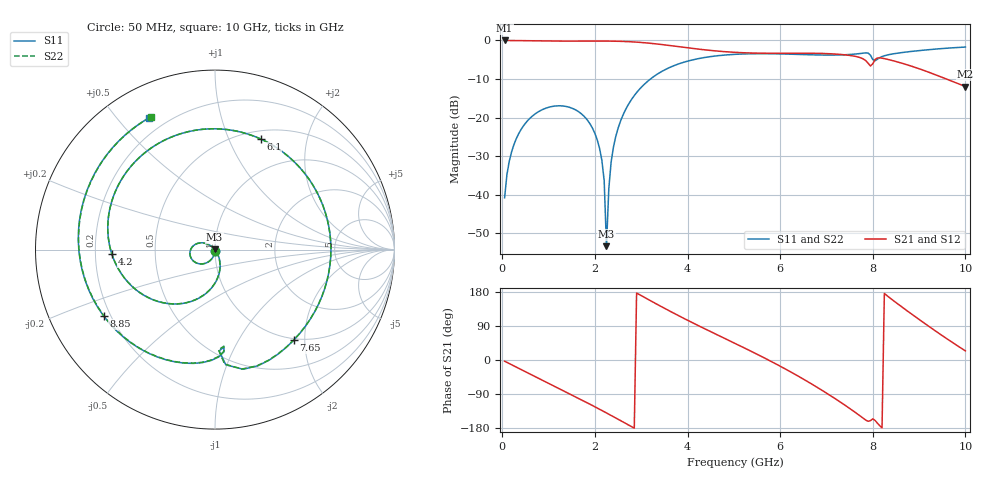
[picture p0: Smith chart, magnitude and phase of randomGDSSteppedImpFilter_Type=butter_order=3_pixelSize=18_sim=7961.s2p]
! freq	dB(S11)	phase(S11)	dB(S12)	phase(S12)
!  dB(S21)	phase(S21)	dB(S22)	phase(S22)
!S-par simulation data
#  GHz  S  DB  R 50
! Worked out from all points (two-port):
!   200 points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, 50 MHz to 10 GHz, reference 50 ohm
!   highest |S21| = -0.01 dB at 50 MHz (marker M1); lowest = -11.9 dB at 10 GHz (marker M2)
!   |S21| within 3 dB of the highest: start of sweep to 4.914 GHz
!   lowest |S11| = -53.3 dB at 2.25 GHz (marker M3), VSWR 1.00, Z = 49.8 + j0.0725 ohm
!   |S11| at or under -10 dB: start of sweep to 3.198 GHz
!   |S22| runs from -51.4 to -1.7 dB; largest |S21 - S12| = 0
!   S11 on the Smith chart (normalised r, x): 50 MHz: 1.00, -0.02; 4.2 GHz: 0.27, -0.02; 6.1 GHz: 0.59, +1.32; 7.65 GHz: 0.97, -1.77; 8.85 GHz: 0.17, -0.27; 10 GHz: 0.14, +0.61
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0.05  -40.77 -92.5  -0.01 -3.2  -0.01 -3.2  -40.76 -92.5
0.2  -28.90 -102.1  -0.03 -12.5  -0.03 -12.5  -28.90 -102.1
0.55  -20.75 -124.5  -0.08 -34.0  -0.08 -34.0  -20.75 -124.5
1.15  -16.99 -161.3  -0.17 -70.7  -0.17 -70.7  -16.98 -161.2
1.75  -19.47 161.8  -0.17 -107.6  -0.17 -107.6  -19.47 162.1
2.15  -31.06 137.5  -0.16 -133.2  -0.16 -133.2  -31.04 139.1
2.2  -36.33 135.8  -0.16 -136.4  -0.16 -136.4  -36.27 138.8
2.25  -53.31 160.3  -0.17 -139.7  -0.17 -139.7  -51.38 176.6
2.3  -38.39 -58.6  -0.17 -143.0  -0.17 -143.0  -38.33 -62.9
2.35  -31.55 -59.3  -0.18 -146.3  -0.18 -146.3  -31.54 -61.2
2.5  -22.76 -68.0  -0.21 -156.3  -0.21 -156.3  -22.76 -68.7
3.4  -8.34 -127.6  -1.00 143.2  -1.00 143.2  -8.34 -127.8
4.2  -4.80 -177.7  -2.20 92.7  -2.20 92.7  -4.80 -177.7
5.05  -3.59 132.4  -3.10 42.4  -3.10 42.4  -3.59 132.4
6.1  -3.52 67.6  -3.33 -22.9  -3.33 -22.9  -3.52 67.7
6.7  -3.73 26.2  -3.33 -64.7  -3.33 -64.7  -3.73 26.2
7.2  -3.78 -11.6  -3.53 -103.0  -3.53 -103.0  -3.79 -11.6
7.65  -3.49 -49.1  -4.20 -140.7  -4.20 -140.7  -3.50 -49.3
8.35  -3.67 -105.0  -4.98 165.7  -4.98 165.7  -3.69 -105.3
8.85  -2.82 -149.3  -6.72 120.2  -6.72 120.2  -2.83 -149.9
9.4  -2.19 163.8  -9.11 72.7  -9.11 72.7  -2.20 163.0
10  -1.71 116.5  -11.94 24.1  -11.94 24.1  -1.71 115.7
